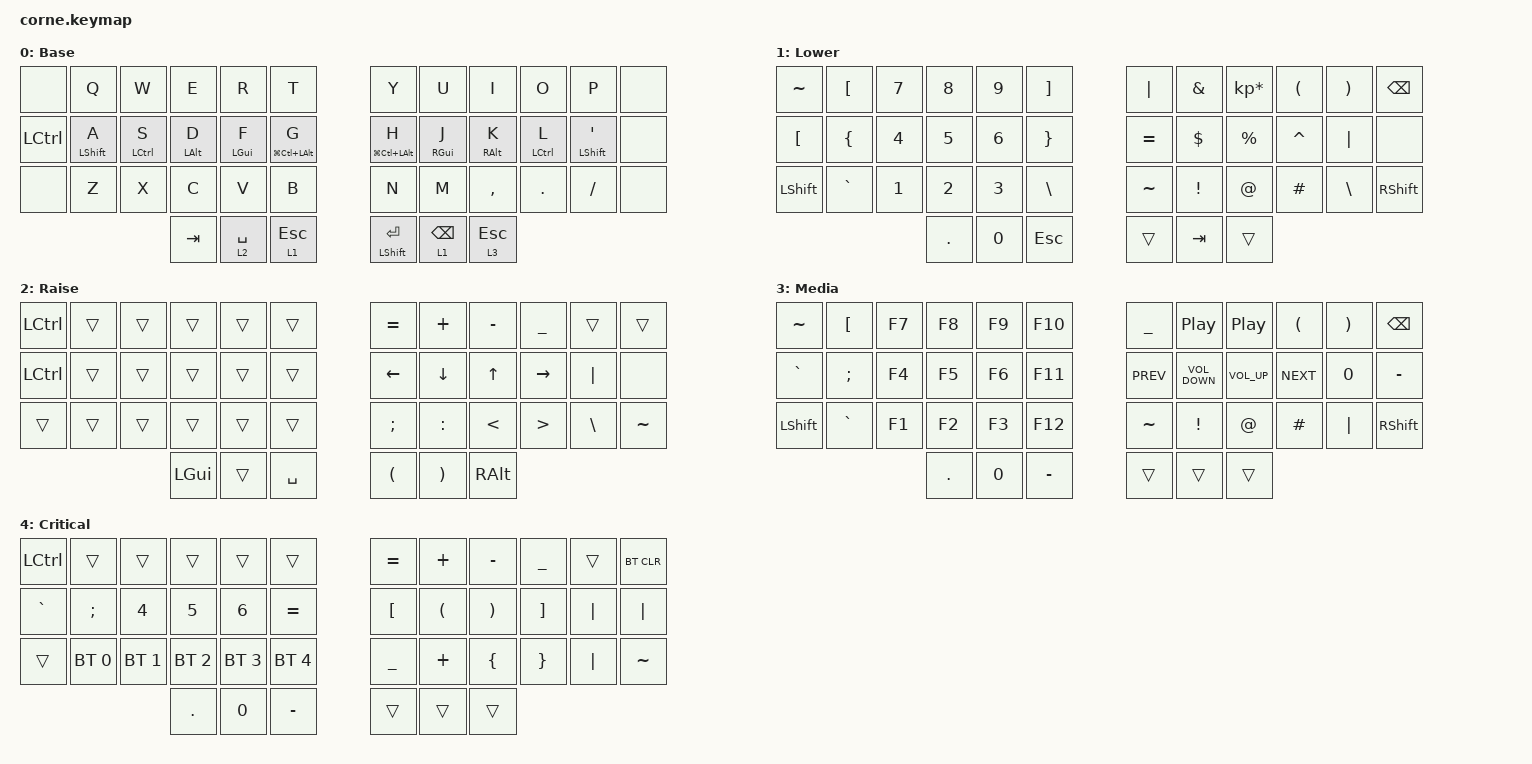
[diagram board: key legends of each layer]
/*
* Copyright (c) 2020 The ZMK Contributors
*
* SPDX-License-Identifier: MIT
*/

#include <behaviors.dtsi>
#include <dt-bindings/zmk/keys.h>
#include <dt-bindings/zmk/bt.h>
#include "combos.dtsi"

&mt {
  tapping-term-ms = <300>;
  flavor = "hold-preferred";
};

&lt {
  tapping-term-ms = <150>;
  quick-tap-ms = <150>;
  hold-trigger-on-release;
  require-prior-idle-ms = <100>;
};

#define MEH LG(LC(LALT))

/ {
  behaviors {
    hm_l: homerow_mods_left {
      compatible = "zmk,behavior-hold-tap";
      #binding-cells = <2>;
      tapping-term-ms = <280>;
      quick-tap-ms = <279>;
      require-prior-idle-ms = <100>;
      flavor = "balanced";
      bindings = <&kp>, <&kp>;
      hold-trigger-on-release;
      hold-trigger-key-positions = <6 7 8 9 10 11 18 19 20 21 22 23 30 31 32 33 34 35 36 37 38 39 40 41>;
    };
    hm_r: homerow_mods_right {
      compatible = "zmk,behavior-hold-tap";
      #binding-cells = <2>;
      tapping-term-ms = <280>;
      quick-tap-ms = <279>;
      require-prior-idle-ms = <100>;
      flavor = "balanced";
      bindings = <&kp>, <&kp>;
      hold-trigger-on-release;
      hold-trigger-key-positions = <0 1 2 3 4 5 12 13 14 15 16 17 24 25 26 27 28 29 36 37 38 39 40 41>;
    };
  };


  keymap {
    compatible = "zmk,keymap";

    default_layer {
      display-name = "Base";
      bindings = <
        &none   &kp Q &kp W &kp E &kp R &kp T   &kp Y &kp U  &kp I     &kp O   &kp P    &none
        &kp LCTRL &hm_l LSHIFT A &hm_l LCTRL S &hm_l LALT D &hm_l LGUI F &hm_l MEH G   &hm_r MEH H &hm_r RGUI J  &hm_r RALT K  &hm_r LCTRL L  &hm_r LSHIFT SQT &none
        &none  &kp Z &kp X &kp C &kp V &kp B   &kp N &kp M  &kp COMMA &kp DOT &kp FSLH &none
        &kp TAB &lt 2 SPACE &lt 1 ESC      &mt LSHIFT RET &lt 1 BSPC &lt 3 ESC
      >;
    };
    lower_layer {
      display-name = "Lower";
      bindings = <
        &kp  TILDE  &kp LBKT        &kp N7      &kp N8        &kp N9      &kp RBKT          &kp PIPE &kp AMPS  &kp KP_MULTIPLY &kp LPAR &kp RPAR &kp BSPC
        &kp LBKT    &kp LBRC       &kp N4       &kp N5       &kp N6       &kp RBRC        &kp EQUAL   &kp DOLLAR   &kp PRCNT &kp CARET &kp PIPE &none
        &kp LSHFT    &kp GRAVE       &kp N1       &kp N2       &kp N3       &kp BSLH         &kp TILDE   &kp EXCL   &kp AT &kp HASH &kp BSLH &kp RSHFT
        &kp DOT &kp N0 &kp ESC       &trans &kp TAB &trans
      >;
    };

    raise_layer {
      display-name = "Raise";
      bindings = <
        &kp LCTRL &trans   &trans &trans   &trans   &trans                              &kp EQUAL &kp PLUS &kp MINUS &kp UNDER &trans &trans
        &kp LCTRL &trans   &trans &trans   &trans   &trans                              &kp LEFT &kp DOWN &kp UP &kp RIGHT &kp PIPE &none
        &trans &trans &trans &trans &trans &trans                                      &kp SEMI &kp COLON  &kp LESS_THAN  &kp GREATER_THAN &kp BSLH &kp TILDE
        &kp LGUI &trans   &kp SPACE   &kp LPAR   &kp RPAR    &kp RALT
      >;
    };

    media_layer {
      display-name = "Media";
      bindings = <
        &kp  TILDE  &kp LBKT        &kp F7      &kp F8        &kp F9      &kp F10          &kp UNDER &kp C_PP  &kp C_PP &kp LPAR &kp RPAR &kp BSPC
        &kp GRAVE    &kp SEMI       &kp F4       &kp F5       &kp F6       &kp F11        &kp C_PREV   &kp C_VOLUME_DOWN   &kp C_VOLUME_UP &kp C_NEXT &kp N0 &kp MINUS
        &kp LSHFT    &kp GRAVE       &kp F1       &kp F2       &kp F3       &kp F12         &kp TILDE   &kp EXCL   &kp AT &kp HASH &kp PIPE &kp RSHFT
        &kp DOT &kp N0 &kp MINUS       &trans &trans &trans
      >;
    };

    critical_layer {
      display-name = "Critical";
      bindings = <
        &kp LCTRL &trans   &trans &trans   &trans   &trans                              &kp EQUAL &kp PLUS &kp MINUS &kp UNDER &trans &bt BT_CLR
        &kp GRAVE    &kp SEMI       &kp N4       &kp N5       &kp N6       &kp EQUAL        &kp LBKT   &kp LPAR  &kp RPAR &kp RBKT &kp PIPE &kp PIPE
        &trans &bt BT_SEL 0 &bt BT_SEL 1 &bt BT_SEL 2 &bt BT_SEL 3 &bt BT_SEL 4     &kp UNDER &kp PLUS  &kp LBRC  &kp RBRC &kp PIPE &kp TILDE
        &kp DOT &kp N0 &kp MINUS       &trans &trans &trans
      >;
    };

    extra_1 {
      status = "reserved";
    };

    extra_2 {
      status = "reserved";
    };

    extra_3 {
      status = "reserved";
    };

    extra_4 {
      status = "reserved";
    };
  };
};
